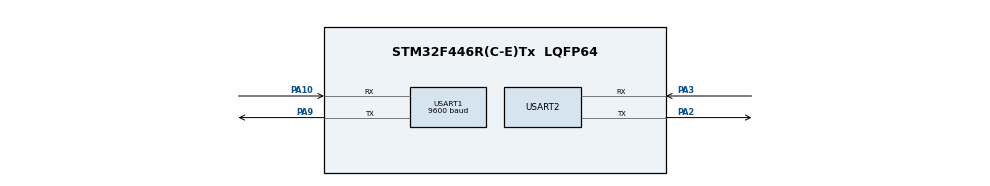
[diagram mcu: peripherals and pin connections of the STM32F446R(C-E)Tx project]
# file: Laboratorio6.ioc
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Mcu.Family=STM32F4
Mcu.Name=STM32F446R(C-E)Tx
Mcu.Package=LQFP64
NVIC.PriorityGroup=NVIC_PRIORITYGROUP_4
NVIC.USART1_IRQn=true\:0\:0\:false\:false\:true\:true\:true\:true
PA10.Mode=Asynchronous
PA10.Signal=USART1_RX
PA2.Mode=Asynchronous
PA2.Signal=USART2_TX
PA3.Mode=Asynchronous
PA3.Signal=USART2_RX
PA9.Mode=Asynchronous
PA9.Signal=USART1_TX
ProjectManager.HeapSize=0x200
ProjectManager.StackSize=0x400
ProjectManager.TargetToolchain=STM32CubeIDE
RCC.CortexFreq_Value=16000000
RCC.USBFreq_Value=96000000
RCC.VCOOutputFreq_Value=192000000
USART1.BaudRate=9600
USART1.VirtualMode=VM_ASYNC
USART2.VirtualMode=VM_ASYNC
board=custom

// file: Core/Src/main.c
/* USER CODE BEGIN Header */
/**
  ******************************************************************************
  * @file           : main.c
  * @brief          : Main program body
  ******************************************************************************
  * @attention
  *
  * Copyright (c) 2025 STMicroelectronics.
  * All rights reserved.
  *
  * This software is licensed under terms that can be found in the LICENSE file
  * in the root directory of this software component.
  * If no LICENSE file comes with this software, it is provided AS-IS.
  *
  ******************************************************************************
  */
/* USER CODE END Header */
#include "main.h"

UART_HandleTypeDef huart1;
UART_HandleTypeDef huart2;

/* USER CODE BEGIN PV */

//***************************************************************
//Universidad del Valle de Guatemala
//Electrónica Digital 2
//Autor: Héctor Alejandro Martínez Guerra
//Hardware: STM32
//LAB6
//***************************************************************

volatile uint8_t rx1_byte;			//byte recibido por USART1
/* USER CODE END PV */

void SystemClock_Config(void);
static void MX_GPIO_Init(void);
static void MX_USART1_UART_Init(void);
static void MX_USART2_UART_Init(void);

/* USER CODE BEGIN 0 */
static void UART1_Start_Receive_IT(void){
  HAL_UART_Receive_IT(&huart1, (uint8_t*)&rx1_byte, 1);
}

static void console_send(const char* s){
  HAL_UART_Transmit(&huart2, (uint8_t*)s, strlen(s), HAL_MAX_DELAY);
  HAL_UART_Transmit(&huart2, (uint8_t*)"\r\n", 2, HAL_MAX_DELAY);
}

static const char* decode_action(uint8_t c){
  switch(c){
    case 'U': return "Arriba";
    case 'D': return "Abajo";
    case 'L': return "Izquierda";
    case 'R': return "Derecha";
    case 'A': return "Boton A";
    case 'B': return "Boton B";
    default:  return "Desconocido";
  }
}

/* USER CODE END 0 */

int main(void)
{

  /* MCU Configuration--------------------------------------------------------*/

  /* Reset of all peripherals, Initializes the Flash interface and the Systick. */
  HAL_Init();

  /* Configure the system clock */
  SystemClock_Config();

  /* Initialize all configured peripherals */
  MX_GPIO_Init();
  MX_USART1_UART_Init();
  MX_USART2_UART_Init();
  /* USER CODE BEGIN 2 */

  console_send("STM32 listo (USART1<-Nano @115200, USART2->PC @115200)");
  UART1_Start_Receive_IT();

  /* USER CODE END 2 */

  /* Infinite loop */
  while (1)
  {

  }
}

void SystemClock_Config(void)
{
  RCC_OscInitTypeDef RCC_OscInitStruct = {0};
  RCC_ClkInitTypeDef RCC_ClkInitStruct = {0};

  /** Configure the main internal regulator output voltage
  */
  __HAL_RCC_PWR_CLK_ENABLE();
  __HAL_PWR_VOLTAGESCALING_CONFIG(PWR_REGULATOR_VOLTAGE_SCALE3);

  /** Initializes the RCC Oscillators according to the specified parameters
  * in the RCC_OscInitTypeDef structure.
  */
  RCC_OscInitStruct.OscillatorType = RCC_OSCILLATORTYPE_HSI;
  RCC_OscInitStruct.HSIState = RCC_HSI_ON;
  RCC_OscInitStruct.HSICalibrationValue = RCC_HSICALIBRATION_DEFAULT;
  RCC_OscInitStruct.PLL.PLLState = RCC_PLL_NONE;
  if (HAL_RCC_OscConfig(&RCC_OscInitStruct) != HAL_OK)
  {
    Error_Handler();
  }

  /** Initializes the CPU, AHB and APB buses clocks
  */
  RCC_ClkInitStruct.ClockType = RCC_CLOCKTYPE_HCLK|RCC_CLOCKTYPE_SYSCLK
                              |RCC_CLOCKTYPE_PCLK1|RCC_CLOCKTYPE_PCLK2;
  RCC_ClkInitStruct.SYSCLKSource = RCC_SYSCLKSOURCE_HSI;
  RCC_ClkInitStruct.AHBCLKDivider = RCC_SYSCLK_DIV1;
  RCC_ClkInitStruct.APB1CLKDivider = RCC_HCLK_DIV1;
  RCC_ClkInitStruct.APB2CLKDivider = RCC_HCLK_DIV1;

  if (HAL_RCC_ClockConfig(&RCC_ClkInitStruct, FLASH_LATENCY_0) != HAL_OK)
  {
    Error_Handler();
  }
}

static void MX_USART1_UART_Init(void)
{

  huart1.Instance = USART1;
  huart1.Init.BaudRate = 9600;
  huart1.Init.WordLength = UART_WORDLENGTH_8B;
  huart1.Init.StopBits = UART_STOPBITS_1;
  huart1.Init.Parity = UART_PARITY_NONE;
  huart1.Init.Mode = UART_MODE_TX_RX;
  huart1.Init.HwFlowCtl = UART_HWCONTROL_NONE;
  huart1.Init.OverSampling = UART_OVERSAMPLING_16;
  if (HAL_UART_Init(&huart1) != HAL_OK)
  {
    Error_Handler();
  }

}

static void MX_USART2_UART_Init(void)
{

  huart2.Instance = USART2;
  huart2.Init.BaudRate = 115200;
  huart2.Init.WordLength = UART_WORDLENGTH_8B;
  huart2.Init.StopBits = UART_STOPBITS_1;
  huart2.Init.Parity = UART_PARITY_NONE;
  huart2.Init.Mode = UART_MODE_TX_RX;
  huart2.Init.HwFlowCtl = UART_HWCONTROL_NONE;
  huart2.Init.OverSampling = UART_OVERSAMPLING_16;
  if (HAL_UART_Init(&huart2) != HAL_OK)
  {
    Error_Handler();
  }

}

static void MX_GPIO_Init(void)
{

  /* GPIO Ports Clock Enable */
  __HAL_RCC_GPIOA_CLK_ENABLE();

}

/* USER CODE BEGIN 4 */
void HAL_UART_RxCpltCallback(UART_HandleTypeDef *huart){
  if(huart->Instance == USART1){
    const char* msg = decode_action(rx1_byte);
    console_send(msg);            //reenviar a la PC por USART2
    UART1_Start_Receive_IT();     //para el siguiente byte
  }
}

/* USER CODE END 4 */

void Error_Handler(void)
{
  __disable_irq();
  while (1)
  {
  }
}
